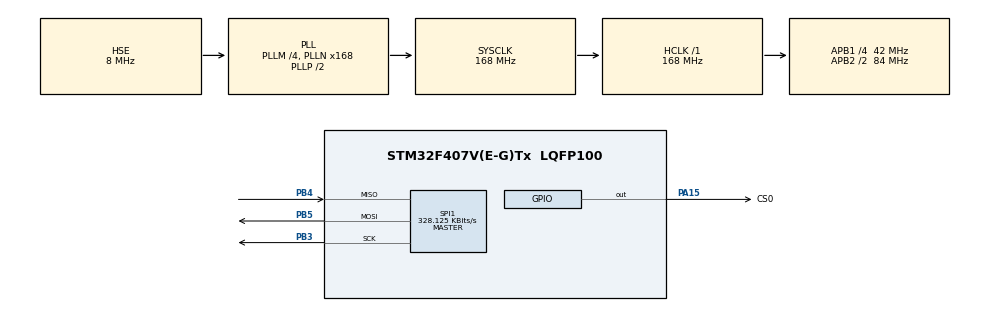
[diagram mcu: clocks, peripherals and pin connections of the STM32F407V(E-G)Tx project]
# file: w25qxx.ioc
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Mcu.Family=STM32F4
Mcu.Name=STM32F407V(E-G)Tx
Mcu.Package=LQFP100
NVIC.PriorityGroup=NVIC_PRIORITYGROUP_4
PA13.Mode=Serial_Wire
PA13.Signal=SYS_JTMS-SWDIO
PA14.Mode=Serial_Wire
PA14.Signal=SYS_JTCK-SWCLK
PA15.GPIO_Label=CS0
PA15.GPIO_Speed=GPIO_SPEED_FREQ_VERY_HIGH
PA15.PinState=GPIO_PIN_SET
PA15.Signal=GPIO_Output
PB3.Mode=Full_Duplex_Master
PB3.Signal=SPI1_SCK
PB4.Mode=Full_Duplex_Master
PB4.Signal=SPI1_MISO
PB5.Mode=Full_Duplex_Master
PB5.Signal=SPI1_MOSI
PH0-OSC_IN.Mode=HSE-External-Oscillator
PH0-OSC_IN.Signal=RCC_OSC_IN
PH1-OSC_OUT.Mode=HSE-External-Oscillator
PH1-OSC_OUT.Signal=RCC_OSC_OUT
ProjectManager.HeapSize=0x200
ProjectManager.StackSize=0x400
ProjectManager.TargetToolchain=EWARM V8.50
RCC.48MHZClocksFreq_Value=84000000
RCC.AHBFreq_Value=168000000
RCC.APB1CLKDivider=RCC_HCLK_DIV4
RCC.APB1Freq_Value=42000000
RCC.APB1TimFreq_Value=84000000
RCC.APB2CLKDivider=RCC_HCLK_DIV2
RCC.APB2Freq_Value=84000000
RCC.APB2TimFreq_Value=168000000
RCC.CortexFreq_Value=168000000
RCC.HCLKFreq_Value=168000000
RCC.HSE_VALUE=8000000
RCC.HSI_VALUE=16000000
RCC.LSE_VALUE=32768
RCC.PLLM=4
RCC.PLLN=168
RCC.PLLSourceVirtual=RCC_PLLSOURCE_HSE
RCC.SYSCLKFreq_VALUE=168000000
RCC.SYSCLKSource=RCC_SYSCLKSOURCE_PLLCLK
RCC.VCOOutputFreq_Value=336000000
SPI1.BaudRatePrescaler=SPI_BAUDRATEPRESCALER_256
SPI1.CalculateBaudRate=328.125 KBits/s
SPI1.Direction=SPI_DIRECTION_2LINES
SPI1.Mode=SPI_MODE_MASTER
SPI1.VirtualType=VM_MASTER
board=custom

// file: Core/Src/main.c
/* USER CODE BEGIN Header */
/**
******************************************************************************
* @file           : main.c
* @brief          : Main program body
******************************************************************************
* @attention
*
* Copyright (c) 2023 STMicroelectronics.
* All rights reserved.
*
* This software is licensed under terms that can be found in the LICENSE file
* in the root directory of this software component.
* If no LICENSE file comes with this software, it is provided AS-IS.
*
******************************************************************************
*/
/* USER CODE END Header */
#include "main.h"
#include "gpio.h"
#include "spi.h"

/* USER CODE BEGIN Includes */
#include "w25qxx.h"
#include <stdio.h>
/* USER CODE END Includes */

/* USER CODE BEGIN PD */
// #define USE_IO_TERMINAL
#define PAGE         1408
#define PAGE_ADDRESS (PAGE * W25QXX_PAGE_SIZE)
/* USER CODE END PD */

/* USER CODE BEGIN PM */
#ifndef USE_IO_TERMINAL
#define printf(param, ...) ((void) 0)
#endif
/* USER CODE END PM */

/* USER CODE BEGIN PV */
w25qxx_HandleTypeDef w25qxx_Handle;
const uint8_t bufferWrite[] = "Hello World!";
uint8_t bufferRead[sizeof(bufferWrite)] = {0};
/* USER CODE END PV */

void SystemClock_Config(void);

int main(void)
{

    /* MCU Configuration--------------------------------------------------------*/

    /* Reset of all peripherals, Initializes the Flash interface and the Systick. */
    HAL_Init();

    /* Configure the system clock */
    SystemClock_Config();

    /* Initialize all configured peripherals */
    MX_GPIO_Init();
    MX_SPI1_Init();
    /* USER CODE BEGIN 2 */
    w25qxx_Init(&w25qxx_Handle, &hspi1, CS0_GPIO_Port, CS0_Pin);
    if (w25qxx_Handle.status == W25QXX_STATUS_READY)
    {
        // w25qxx_Erase(&w25qxx_Handle, W25QXX_CHIP_ERASE, 0, W25QXX_WAIT_BUSY);
        printf("\r\n First approach to read \r\n");
        w25qxx_Read(&w25qxx_Handle, bufferRead, sizeof(bufferRead), PAGE_ADDRESS, true, false);
        if (memcmp(bufferRead, bufferWrite, sizeof(bufferRead)) == 0)
        {
            printf("Data already exist at page %i boundaries \r\n", PAGE);
        }
        else
        {
            printf("Data doesn't exist at page %i boundaries \r\n", PAGE);
            printf("Page programming...");
            w25qxx_Write(&w25qxx_Handle, bufferWrite, sizeof(bufferWrite), PAGE_ADDRESS, true, W25QXX_WAIT_BUSY);
            printf("\r\n Second approach to read \r\n");
            w25qxx_Read(&w25qxx_Handle, bufferRead, sizeof(bufferRead), PAGE_ADDRESS, true, false);
            if (memcmp(bufferRead, bufferWrite, sizeof(bufferRead)) == 0)
            {
                printf("Writing process success \r\n");
            }
            else
            {
                printf("Writing process failure \r\n");
                Error_Handler();
            }
        }
    }
    else
    {
        printf("Couldn't get any response from device \r\n");
        Error_Handler();
    }
    /* USER CODE END 2 */

    /* Infinite loop */
    while (1)
    {

    }
}

void SystemClock_Config(void)
{
    RCC_OscInitTypeDef RCC_OscInitStruct = {0};
    RCC_ClkInitTypeDef RCC_ClkInitStruct = {0};

    /** Configure the main internal regulator output voltage
     */
    __HAL_RCC_PWR_CLK_ENABLE();
    __HAL_PWR_VOLTAGESCALING_CONFIG(PWR_REGULATOR_VOLTAGE_SCALE1);

    /** Initializes the RCC Oscillators according to the specified parameters
     * in the RCC_OscInitTypeDef structure.
     */
    RCC_OscInitStruct.OscillatorType = RCC_OSCILLATORTYPE_HSE;
    RCC_OscInitStruct.HSEState = RCC_HSE_ON;
    RCC_OscInitStruct.PLL.PLLState = RCC_PLL_ON;
    RCC_OscInitStruct.PLL.PLLSource = RCC_PLLSOURCE_HSE;
    RCC_OscInitStruct.PLL.PLLM = 4;
    RCC_OscInitStruct.PLL.PLLN = 168;
    RCC_OscInitStruct.PLL.PLLP = RCC_PLLP_DIV2;
    RCC_OscInitStruct.PLL.PLLQ = 4;
    if (HAL_RCC_OscConfig(&RCC_OscInitStruct) != HAL_OK)
    {
        Error_Handler();
    }

    /** Initializes the CPU, AHB and APB buses clocks
     */
    RCC_ClkInitStruct.ClockType = RCC_CLOCKTYPE_HCLK | RCC_CLOCKTYPE_SYSCLK | RCC_CLOCKTYPE_PCLK1 | RCC_CLOCKTYPE_PCLK2;
    RCC_ClkInitStruct.SYSCLKSource = RCC_SYSCLKSOURCE_PLLCLK;
    RCC_ClkInitStruct.AHBCLKDivider = RCC_SYSCLK_DIV1;
    RCC_ClkInitStruct.APB1CLKDivider = RCC_HCLK_DIV4;
    RCC_ClkInitStruct.APB2CLKDivider = RCC_HCLK_DIV2;

    if (HAL_RCC_ClockConfig(&RCC_ClkInitStruct, FLASH_LATENCY_5) != HAL_OK)
    {
        Error_Handler();
    }
}

void Error_Handler(void)
{
    __disable_irq();
    while (1) {}
}
